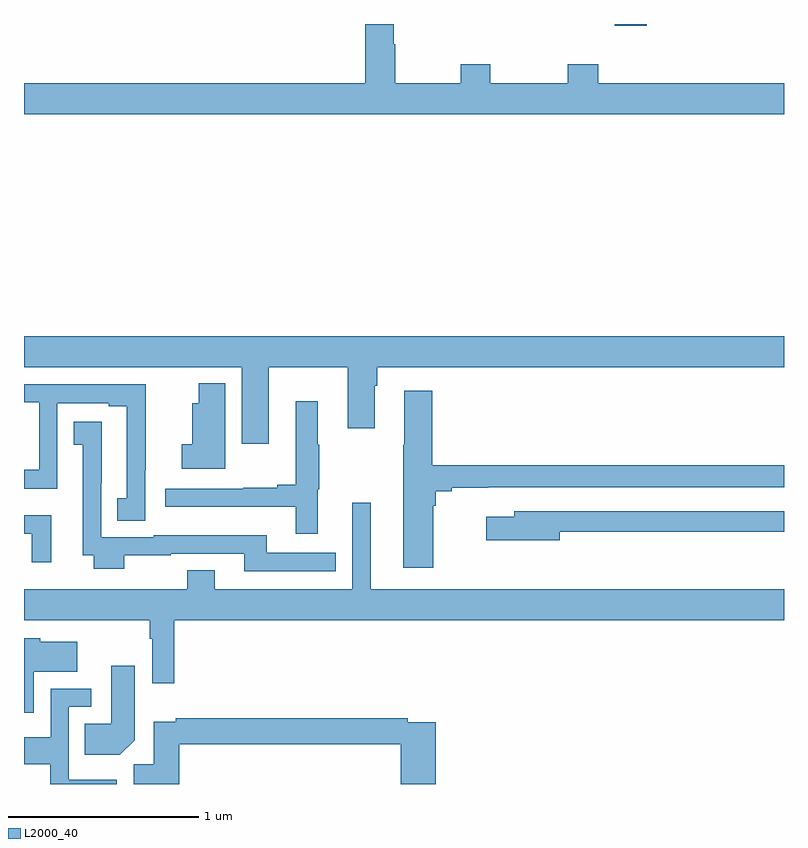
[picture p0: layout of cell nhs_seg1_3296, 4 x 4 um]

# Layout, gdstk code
import gdstk
lib = gdstk.Library(unit=1e-6, precision=1e-09)
def R(c, l, rs):  # rectangles x0, y0, x1, y1
    for r in rs: c.add(gdstk.rectangle(r[:2], r[2:], *l))
def P(c, l, *ps):  # polygons
    for p in ps: c.add(gdstk.Polygon(p, *l))
L2000_40 = (2000, 40)

nhs_seg1_3296 = lib.new_cell('nhs_seg1_3296')
R(nhs_seg1_3296, L2000_40, [(292.11,560.189,292.277,560.199)])
P(nhs_seg1_3296, L2000_40, [(293,559.888),(292.022,559.888),(292.022,559.987),(291.862,559.987),(291.862,559.888),(291.453,559.888),(291.453,559.987),(291.298,559.987),(291.298,559.888),(290.955,559.888),(290.955,560.093),(290.947,560.093),(290.947,560.199),(290.795,560.199),(290.795,559.888),(289,559.888),(289,559.724),(293,559.724)],
  [(290.287,558.392),(290.705,558.392),(290.705,558.072),(290.845,558.072),(290.845,558.296),(290.858,558.296),(290.858,558.392),(293,558.392),(293,558.556),(289,558.556),(289,558.392),(290.147,558.392),(290.147,557.991),(290.287,557.991)],
  [(290.059,558.307),(289.919,558.307),(289.919,558.202),(289.886,558.202),(289.886,557.988),(289.83,557.988),(289.83,557.858),(290.059,557.858)],
  [(289.638,557.851),(289.641,557.851),(289.641,558.304),(289.183,558.304),(289.183,558.303),(289,558.303),(289,558.207),(289.08,558.207),(289.08,557.854),(289,557.854),(289,557.753),(289.176,557.753),(289.176,558.203),(289.445,558.203),(289.445,558.186),(289.541,558.186),(289.541,557.703),(289.492,557.703),(289.492,557.584),(289.638,557.584)],
  [(291.154,557.663),(291.167,557.663),(291.167,557.74),(291.25,557.74),(291.25,557.759),(291.444,557.759),(291.444,557.76),(293,557.76),(293,557.876),(291.149,557.876),(291.149,558.268),(291.002,558.268),(291.002,557.984),(290.995,557.984),(290.995,557.754),(290.996,557.754),(290.996,557.336),(291.154,557.336)],
  [(290.545,557.751),(290.553,557.751),(290.553,557.984),(290.545,557.984),(290.545,558.214),(290.429,558.214),(290.429,557.774),(290.333,557.774),(290.333,557.757),(290.155,557.757),(290.155,557.754),(289.743,557.754),(289.743,557.657),(290.429,557.657),(290.429,557.517),(290.545,557.517)],
  [(290.642,557.415),(290.278,557.415),(290.278,557.509),(289.683,557.509),(289.683,557.499),(289.407,557.499),(289.407,557.782),(289.408,557.782),(289.408,558.106),(289.261,558.106),(289.261,557.985),(289.31,557.985),(289.31,557.403),(289.367,557.403),(289.367,557.333),(289.527,557.333),(289.527,557.402),(289.773,557.402),(289.773,557.412),(290.159,557.412),(290.159,557.319),(290.642,557.319)],
  [(289.79,557.06),(293,557.06),(293,557.224),(290.824,557.224),(290.824,557.68),(290.727,557.68),(290.727,557.224),(290.005,557.224),(290.005,557.323),(289.858,557.323),(289.858,557.224),(289,557.224),(289,557.06),(289.662,557.06),(289.662,556.964),(289.674,556.964),(289.674,556.728),(289.79,556.728)],
  [(291.82,557.526),(293,557.526),(293,557.634),(291.581,557.634),(291.581,557.605),(291.432,557.605),(291.432,557.483),(291.82,557.483)],
  [(289.144,557.614),(289,557.614),(289,557.517),(289.042,557.517),(289.042,557.367),(289.144,557.367)],
  [(289.05,556.79),(289.279,556.79),(289.279,556.948),(289.086,556.948),(289.086,556.966),(289,556.966),(289,556.574),(289.05,556.574)],
  [(289.582,556.43),(289.582,556.822),(289.46,556.822),(289.46,556.516),(289.321,556.516),(289.321,556.352),(289.504,556.352)],
  [(289.489,556.222),(289.236,556.222),(289.236,556.605),(289.354,556.605),(289.354,556.701),(289.14,556.701),(289.14,556.444),(289.001,556.444),(289.001,556.304),(289.138,556.304),(289.138,556.199),(289.489,556.199)],
  [(289.817,556.408),(290.984,556.408),(290.984,556.199),(291.167,556.199),(291.167,556.524),(291.02,556.524),(291.02,556.544),(289.798,556.544),(289.798,556.526),(289.682,556.526),(289.682,556.304),(289.577,556.304),(289.577,556.199),(289.817,556.199)])

lib.write_gds('nhs_seg1_3296.gds')
